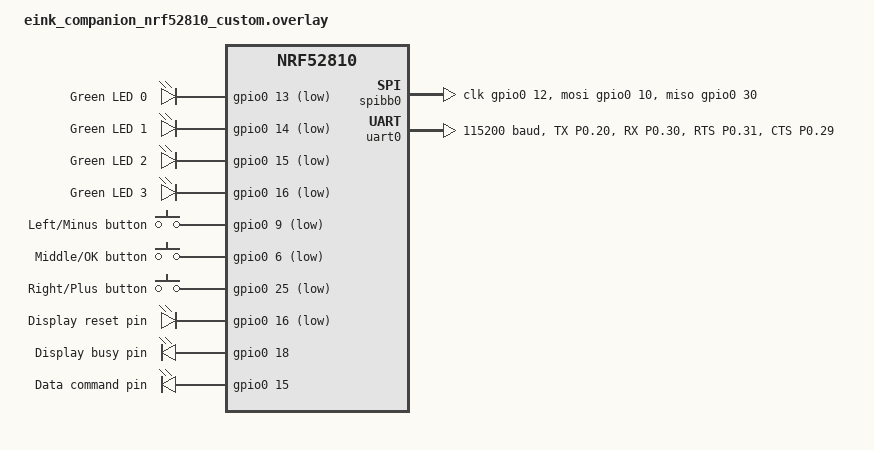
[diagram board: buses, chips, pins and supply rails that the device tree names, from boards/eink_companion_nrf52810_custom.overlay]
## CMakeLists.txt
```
# SPDX-License-Identifier: Apache-2.0

cmake_minimum_required(VERSION 3.20.0)


#set(DTC_OVERLAY_FILE "${CMAKE_CURRENT_SOURCE_DIR}/boards/eink_companion_nrf52840dk.overlay")
set(DTC_OVERLAY_FILE "${CMAKE_CURRENT_SOURCE_DIR}/boards/eink_companion_nrf52810_custom.overlay")


find_package(Zephyr REQUIRED HINTS $ENV{ZEPHYR_BASE})
project(spi_bitbang)


FILE(GLOB app_sources src/*.c)
target_sources(app PRIVATE ${app_sources})
```

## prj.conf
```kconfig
CONFIG_SPI=y
CONFIG_SPI_BITBANG=y
CONFIG_LOG=y
CONFIG_GPIO=y
CONFIG_PM=y
CONFIG_PM_DEVICE=y
#CONFIG_APP_RETENTION=y

CONFIG_ENTROPY_GENERATOR=y
CONFIG_ENTROPY_DEVICE_RANDOM_GENERATOR=y
CONFIG_HARDWARE_DEVICE_CS_GENERATOR=y

#debugging
CONFIG_STDOUT_CONSOLE=y
#CONFIG_NRF_SW_LPUART=y
```

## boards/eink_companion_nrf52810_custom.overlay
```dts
/*
 * Copyright (c) 2020 Intel Corporation
 *
 * SPDX-License-Identifier: Apache-2.0
 */

/ {
    leds {
        compatible = "gpio-leds";
        led0: led_0 {
            gpios = <&gpio0 13 GPIO_ACTIVE_LOW>;
            label = "Green LED 0";
        };
        led1: led_1 {
            gpios = <&gpio0 14 GPIO_ACTIVE_LOW>;
            label = "Green LED 1";
        };
        led2: led_2 {
            gpios = <&gpio0 15 GPIO_ACTIVE_LOW>;
            label = "Green LED 2";
        };
        led3: led_3 {
            gpios = <&gpio0 16 GPIO_ACTIVE_LOW>;
            label = "Green LED 3";
        };
    };

    buttons {
        compatible = "gpio-keys";
        button0: button_0 {
            label = "Left/Minus button";
            gpios = <&gpio0 9 (GPIO_PULL_UP | GPIO_ACTIVE_LOW)>;
        };
        button1: button_1 {
            label = "Middle/OK button";
            gpios = <&gpio0 6 (GPIO_PULL_UP | GPIO_ACTIVE_LOW)>;
        };
        button2: button_2 {
            label = "Right/Plus button";
            gpios = <&gpio0 25 (GPIO_PULL_UP | GPIO_ACTIVE_LOW)>;
        };
    };

    aliases {
        led0 = &led0;
        led1 = &led1;
        led2 = &led2;
        led3 = &led3;
        sw0 = &button0;
        sw1 = &button1;
        sw2 = &button2;
    };

};

/ {
    eink {
        compatible = "gpio-leds";
        einkreset: eink_reset {
            gpios = <&gpio0 16 GPIO_ACTIVE_LOW>;
            label = "Display reset pin";
        };
        einkbusy: eink_busy {
            gpios = <&gpio0 18 GPIO_ACTIVE_HIGH>;
            label = "Display busy pin";
        };
        einkdc: eink_dc {
            gpios = <&gpio0 15 GPIO_ACTIVE_HIGH>;
            label = "Data command pin";
        };
    };

    aliases {
        einkreset = &einkreset;
        einkbusy = &einkbusy;
        einkdc = &einkdc;
    };

};

/ {
    spibb0: spibb0 {
        compatible = "zephyr,spi-bitbang";
        status="okay";
        #address-cells = <1>;
        #size-cells = <0>;
        clk-gpios = <&gpio0 12 GPIO_ACTIVE_HIGH>;
        mosi-gpios = <&gpio0 10 GPIO_ACTIVE_HIGH>;
        miso-gpios = <&gpio0 30 0>;
        cs-gpios = <&gpio0 14 GPIO_ACTIVE_LOW>;
    };
};

&uart0 {
    compatible = "nordic,nrf-uarte";
    status = "okay";
    current-speed = <115200>;
    pinctrl-0 = <&uart0_default>;
    pinctrl-1 = <&uart0_sleep>;
    pinctrl-names = "default", "sleep";
};

&pinctrl {
    uart0_default: uart0_default {
        group1 {
            psels = <NRF_PSEL(UART_TX, 0, 20)>,
                <NRF_PSEL(UART_RX, 0, 30)>,
                <NRF_PSEL(UART_RTS, 0, 31)>,
                <NRF_PSEL(UART_CTS, 0, 29)>;
        };
    };

    uart0_sleep: uart0_sleep {
        group1 {
            psels = <NRF_PSEL(UART_TX, 0, 20)>,
                <NRF_PSEL(UART_RX, 0, 30)>,
                <NRF_PSEL(UART_RTS, 0, 31)>,
                <NRF_PSEL(UART_CTS, 0, 29)>;
            low-power-enable;
        };
    };
};
```

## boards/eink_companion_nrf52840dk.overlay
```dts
/*
 * Copyright (c) 2020 Intel Corporation
 *
 * SPDX-License-Identifier: Apache-2.0
 */

/ {
    leds {
        compatible = "gpio-leds";
        led0: led_0 {
            gpios = <&gpio0 13 GPIO_ACTIVE_LOW>;
            label = "Green LED 0";
        };
        led1: led_1 {
            gpios = <&gpio0 14 GPIO_ACTIVE_LOW>;
            label = "Green LED 1";
        };
        led2: led_2 {
            gpios = <&gpio0 15 GPIO_ACTIVE_LOW>;
            label = "Green LED 2";
        };
        led3: led_3 {
            gpios = <&gpio0 16 GPIO_ACTIVE_LOW>;
            label = "Green LED 3";
        };
    };

    buttons {
        compatible = "gpio-keys";
        button0: button_0 {
            label = "Push button switch 0";
            gpios = <&gpio0 13 (GPIO_PULL_UP | GPIO_ACTIVE_LOW)>;
        };
        button1: button_1 {
            label = "Push button switch 1";
            gpios = <&gpio0 14 (GPIO_PULL_UP | GPIO_ACTIVE_LOW)>;
        };
        button2: button_2 {
            label = "Push button switch 2";
            gpios = <&gpio0 15 (GPIO_PULL_UP | GPIO_ACTIVE_LOW)>;
        };
    };

    aliases {
        led0 = &led0;
        led1 = &led1;
        led2 = &led2;
        led3 = &led3;
        sw0 = &button0;
        sw1 = &button1;
        sw2 = &button2;
    };

};

/ {
    eink {
        compatible = "gpio-leds";
        einkreset: eink_reset {
            gpios = <&gpio0 31 GPIO_ACTIVE_LOW>;
            label = "Display reset pin";
        };
        einkbusy: eink_busy {
            gpios = <&gpio0 3 GPIO_ACTIVE_HIGH>;
            label = "Display busy pin";
        };
        einkdc: eink_dc {
            gpios = <&gpio0 30 GPIO_ACTIVE_HIGH>;
            label = "Data command pin";
        };
    };

    aliases {
        einkreset = &einkreset;
        einkbusy = &einkbusy;
        einkdc = &einkdc;
    };

};

/ {
    spibb0: spibb0 {
        compatible = "zephyr,spi-bitbang";
        status="okay";
        #address-cells = <1>;
        #size-cells = <0>;
        clk-gpios = <&gpio0 28 GPIO_ACTIVE_HIGH>;
        mosi-gpios = <&gpio0 29 GPIO_ACTIVE_HIGH>;
        miso-gpios = <&gpio0 19 0>;
        cs-gpios = <&gpio0 4 GPIO_ACTIVE_LOW>;
    };
};
```

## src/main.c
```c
#include <zephyr/logging/log.h>
LOG_MODULE_REGISTER(app, LOG_LEVEL_INF);

#include <zephyr/kernel.h>
#include <zephyr/device.h>
#include <zephyr/devicetree.h>
#include <zephyr/init.h>
#include <zephyr/pm/pm.h>
#include <zephyr/pm/device.h>
#include <zephyr/pm/policy.h>
#include <soc.h>
#include "retained.h"
#include <stdio.h>
#include <string.h>
#include "board.h"
#include "ssd1680.h"
#include "gfx.h"
#include "gfx_icon.h"
#include "screen_controller.h"
#include "screen_game_dashboard.h"

/* Prevent deep sleep (system off) from being entered on long timeouts
 * or `K_FOREVER` due to the default residency policy.
 *
 * This has to be done before anything tries to sleep, which means
 * before the threading system starts up between PRE_KERNEL_2 and
 * POST_KERNEL.  Do it at the start of PRE_KERNEL_2.
 */
static int disable_ds_1(const struct device *dev)
{
    ARG_UNUSED(dev);
    pm_policy_state_lock_get(PM_STATE_SOFT_OFF, PM_ALL_SUBSTATES);
    return 0;
}

SYS_INIT(disable_ds_1, PRE_KERNEL_2, 0);

static void reset_to_main_menu(void)
{
    LOG_INF("Resetting to setup menu");
    retained.app_state = 0;             // Reset app state to main-menu
    retained.current_selection = 1;     // Set first menu item as selected
    retained_update();                  // Update retained section
    button_state.left = false;          // Clear left button press
    button_state.middle = false;        // Clear middle button press
    button_state.right = false;         // Clear right button press
}

void main(void)
{
    // Wake up time is 16.8us so we should be able to capture button press
    // First get the GPIO state before going forward
    board_switch_init();
    board_update_button_states();

    // Initialize rest of the board
    board_gpio_init();
    gfx_initialize();

    // Validate retained data
    bool retained_ok = retained_validate();
    retained.boots += 1;
    retained_update();

    LOG_INF("Left: %s", button_state.left ? "On" : "Off");
    LOG_INF("Middle: %s", button_state.middle ? "On" : "Off");
    LOG_INF("Right: %s", button_state.right ? "On" : "Off");

    LOG_INF("Retained data: %s", retained_ok ? "valid" : "INVALID");
    LOG_INF("Boot count: %u", retained.boots);
    LOG_INF("Off count: %u", retained.off_count);
    LOG_INF("App state: %u", retained.app_state);
    LOG_INF("Selection: %u", retained.current_selection);

    // Check if middle button is held for 3+ sec
    uint8_t nMiddleCount=0;
    while( board_button_is_pressed(BUTTON_MIDDLE) )
    {
        nMiddleCount++;
        k_sleep(K_MSEC(500));
        if(nMiddleCount>=6)
        {
            reset_to_main_menu();
            break;
        }
    }

    // Update the screen based on state of the device
    screen_logic_state_tick();

    // Put screen and the device into deep sleep
    eink_deep_sleep();
    LOG_INF("Entering deep sleep mode. Night night.");
    pm_state_force(0u, &(struct pm_state_info){PM_STATE_SOFT_OFF, 0, 0});

    while (1)
    {
        k_sleep(K_MSEC(500));
    }
}
```

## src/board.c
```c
#include <zephyr/logging/log.h>
LOG_MODULE_REGISTER(board, LOG_LEVEL_INF);

#include <zephyr/kernel.h>
#include <zephyr/device.h>
#include <zephyr/devicetree.h>
#include <zephyr/drivers/gpio.h>
#include <zephyr/drivers/spi.h>
#include <hal/nrf_gpio.h>
#include <stdio.h>
#include <string.h>
#include "board.h"

#define SPIBB_NODE  DT_NODELABEL(spibb0)
static const struct device *const dev_spibb = DEVICE_DT_GET(SPIBB_NODE);

#define LED0_NODE DT_ALIAS(led0)
static const struct gpio_dt_spec led = GPIO_DT_SPEC_GET(LED0_NODE, gpios);

#define EINK_RESET DT_ALIAS(einkreset)
static const struct gpio_dt_spec dev_eink_reset = GPIO_DT_SPEC_GET(EINK_RESET, gpios);

#define EINK_BUSY DT_ALIAS(einkbusy)
static const struct gpio_dt_spec dev_eink_busy = GPIO_DT_SPEC_GET(EINK_BUSY, gpios);

#define EINK_DC DT_ALIAS(einkdc)
static const struct gpio_dt_spec dev_eink_dc = GPIO_DT_SPEC_GET(EINK_DC, gpios);


struct spi_cs_control cs_ctrl = (struct spi_cs_control){
    .gpio = GPIO_DT_SPEC_GET(SPIBB_NODE, cs_gpios),
    .delay = 0u,
};


// Buttons
#define SW_COUNT    3
static const struct gpio_dt_spec buttons[SW_COUNT] = {
    GPIO_DT_SPEC_GET_OR(DT_ALIAS(sw0), gpios, {0}),
    GPIO_DT_SPEC_GET_OR(DT_ALIAS(sw1), gpios, {0}),
    GPIO_DT_SPEC_GET_OR(DT_ALIAS(sw2), gpios, {0}),
};

struct board_buttons_s button_state;

int board_switch_init(void)
{
    int ret;
    // Buttons
    for (uint8_t i=0; i<SW_COUNT; i++)
    {
        if (!device_is_ready(buttons[i].port)) {
            printk("Error: button device %s is not ready\n",
                   buttons[i].port->name);
            return -1;
        }

        ret = gpio_pin_configure_dt(&buttons[i], GPIO_INPUT | GPIO_PULL_UP);
        if (ret != 0) {
            printk("Error %d: failed to configure %s pin %d\n",
                   ret, buttons[i].port->name, buttons[i].pin);
            return ret;
        }
    }

    return ret;
}

int board_gpio_init(void)
{
    LOG_DBG("Setting up board");
    int ret;

    // EINK
    LOG_DBG("Setting up EINK display");
    ret = gpio_pin_configure_dt(&dev_eink_busy, GPIO_INPUT);
    if (ret < 0) {
        return ret;
    }
    ret = gpio_pin_configure_dt(&dev_eink_reset, GPIO_OUTPUT_ACTIVE);
    if (ret < 0) {
        return ret;
    }
    ret = gpio_pin_configure_dt(&dev_eink_dc, GPIO_OUTPUT_ACTIVE);
    if (ret < 0) {
        return ret;
    }

    // LED
    LOG_DBG("Setting up activity LED");
    ret = gpio_pin_configure_dt(&led, GPIO_OUTPUT_ACTIVE);
    if (ret < 0) {
        return ret;
    }


    for (uint8_t i=0; i<SW_COUNT; i++)
    {
        /* Configure to generate PORT event (wakeup) on button press. */
        nrf_gpio_cfg_input(buttons[i].pin, NRF_GPIO_PIN_PULLUP);
        nrf_gpio_cfg_sense_set(buttons[i].pin, NRF_GPIO_PIN_SENSE_LOW);
    }


    return 0;
}

bool board_button_is_pressed(board_button_t button)
{
    int val=0;
    val = gpio_pin_get_dt(&buttons[button]);

    if (val)
    {
        return true;
    }
    return false;
}

void board_update_button_states(void)
{
    button_state.left   = board_button_is_pressed(BUTTON_LEFT);
    button_state.middle = board_button_is_pressed(BUTTON_MIDDLE);
    button_state.right  = board_button_is_pressed(BUTTON_RIGHT);
}

void board_led_act_toggle(void)
{
    gpio_pin_toggle_dt(&led);
}

void board_gpio_reset(uint8_t state)
{
    gpio_pin_set_dt(&dev_eink_reset, state);
}
void board_gpio_data_cmd(uint8_t state)
{
    gpio_pin_set_dt(&dev_eink_dc, state);
}

bool board_gpio_busy(void)
{
    if (gpio_pin_get_dt(&dev_eink_busy)==1)
    {
        return true;
    }
    return false;
}



int spi_transfer(uint8_t *data, uint32_t nDataLen)
{
    int ret;
    struct spi_config config;

    config.frequency = 1000000;
    config.operation = SPI_OP_MODE_MASTER | SPI_WORD_SET(8);
    config.slave = 0;
    config.cs = &cs_ctrl;

    struct spi_buf tx_buf[1] = {
        {.buf = data, .len = nDataLen},
    };

    struct spi_buf_set tx_set = { .buffers = tx_buf, .count = nDataLen };

    ret = spi_write(dev_spibb, &config, &tx_set);

    return ret;
}
```

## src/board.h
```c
#ifndef _SK_BOARD_H_
#define _SK_BOARD_H_

#define BOARD_GET_TICK()  k_uptime_get()
#define BOARD_DELAY(x)    k_sleep(K_MSEC(x));

typedef enum
{
    BUTTON_LEFT = 0,
    BUTTON_MIDDLE = 1,
    BUTTON_RIGHT = 2
} board_button_t;

typedef struct board_buttons_s
{
    bool left;
    bool middle;
    bool right;
} board_buttons_s;

int board_switch_init(void);
int board_gpio_init(void);
void board_led_act_toggle(void);
void board_gpio_reset(uint8_t state);
void board_gpio_data_cmd(uint8_t state);
bool board_gpio_busy(void);
bool board_button_is_pressed(board_button_t button);
void board_update_button_states(void);
int spi_transfer(uint8_t *data, uint32_t nDataLen);

extern struct board_buttons_s button_state;

#endif
```

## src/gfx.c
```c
#include <zephyr/logging/log.h>
LOG_MODULE_REGISTER(gfx, LOG_LEVEL_INF);

#include <stdlib.h>
#include "gfx.h"
#include "ssd1680.h"

#define BYTES_PER_Y (EPD_HEIGHT/8)

uint8_t display_rotation = 3;
uint8_t img_bw_buff[EPD_BUF_LEN] = {0xFF};
uint8_t img_red_buff[EPD_BUF_LEN] = {0};


void gfx_initialize(void)
{
    gfx_clear_buffer();
    LOG_DBG("Setting up EINK");
    eink_initialize(true);
}

void gfx_display(void)
{
    eink_display(img_bw_buff, img_red_buff);
}

void gfx_display_partial(uint32_t x, uint32_t y, uint32_t nColumn, uint32_t nLine)
{
    eink_display_partial(x, y, &img_bw_buff[(x/8)+y], nColumn, nLine);
}

void gfx_clear_buffer()
{
    memset(img_bw_buff, 0xFF, EPD_BUF_LEN);
    memset(img_red_buff, 0x00, EPD_BUF_LEN);
}

void gfx_set_buffer(uint8_t buff, uint8_t val)
{
    if (buff == 0)
    {
        memset(img_bw_buff, val, EPD_BUF_LEN);
    }
    else
    {
        memset(img_red_buff, val, EPD_BUF_LEN);
    }
}

void gfx_draw_image(const char *img_bw, const char *img_red)
{
    for (int i = 0; i < EPD_BUF_LEN; i++)
    {
        img_bw_buff[i] = img_bw[i];
    }

    for (int i = 0; i < EPD_BUF_LEN; i++)
    {
        img_red_buff[i] = img_red[i];
    }
}

void gfx_draw_pixel(int16_t x, int16_t y, uint16_t color)
{
    if ((x < 0) || (x >= EPD_WIDTH) || (y < 0) || (y >= EPD_HEIGHT))
        return;

    uint8_t *pBuf;
    uint16_t addr;

    addr = x*BYTES_PER_Y + y/8;

    if (color == EPD_RED || color == EPD_RED_INVERSE)
    {
        pBuf = img_red_buff + addr;
    }
    else
    {
        pBuf = img_bw_buff + addr;
    }

    // x is which column
    switch (color)
    {
        case EPD_WHITE:
            *pBuf |= (1 << (7 - y % 8));
            break;
        case EPD_RED:
            *pBuf |= (1 << (7 - y % 8));
            break;
        case EPD_BLACK:
            *pBuf &= ~(1 << (7 - y % 8));
            break;
        case EPD_INVERSE:
        case EPD_RED_INVERSE:
            *pBuf ^= (1 << (7 - y % 8));
            break;
        default:
            LOG_ERR("Invalid color %d", color);
            break;
    }
}



void gfx_draw_line(int16_t x0, int16_t y0, int16_t x1, int16_t y1, uint16_t color)
{
  int16_t steep = abs(y1 - y0) > abs(x1 - x0);
  if (steep)
  {
    gfx_swap(x0, y0);
    gfx_swap(x1, y1);
  }

  if (x0 > x1)
  {
    gfx_swap(x0, x1);
    gfx_swap(y0, y1);
  }

  int16_t dx, dy;
  dx = x1 - x0;
  dy = abs(y1 - y0);

  int16_t err = dx / 2;
  int16_t ystep;

  if (y0 < y1)
  {
    ystep = 1;
  }
  else
  {
    ystep = -1;
  }

  for (; x0 <= x1; x0++)
  {
    if (steep)
    {
      gfx_draw_pixel(y0, x0, color);
    }
    else
    {
      gfx_draw_pixel(x0, y0, color);
    }
    err -= dy;
    if (err < 0)
    {
      y0 += ystep;
      err += dx;
    }
  }
}

void gfx_draw_v_line(int16_t x, int16_t y, int16_t h, uint16_t color)
{
    gfx_draw_line(x, y, x, y + h - 1, color);
}

void gfx_draw_h_line(int16_t x, int16_t y, int16_t w, uint16_t color)
{
  gfx_draw_line(x, y, x + w - 1, y, color);
}

void gfx_draw_circle(int16_t x0, int16_t y0, int16_t r, uint16_t color)
{
  int16_t f = 1 - r;
  int16_t ddF_x = 1;
  int16_t ddF_y = -2 * r;
  int16_t x = 0;
  int16_t y = r;

  gfx_draw_pixel(x0, y0 + r, color);
  gfx_draw_pixel(x0, y0 - r, color);
  gfx_draw_pixel(x0 + r, y0, color);
  gfx_draw_pixel(x0 - r, y0, color);

  while (x < y) {
    if (f >= 0) {
      y--;
      ddF_y += 2;
      f += ddF_y;
    }
    x++;
    ddF_x += 2;
    f += ddF_x;

    gfx_draw_pixel(x0 + x, y0 + y, color);
    gfx_draw_pixel(x0 - x, y0 + y, color);
    gfx_draw_pixel(x0 + x, y0 - y, color);
    gfx_draw_pixel(x0 - x, y0 - y, color);
    gfx_draw_pixel(x0 + y, y0 + x, color);
    gfx_draw_pixel(x0 - y, y0 + x, color);
    gfx_draw_pixel(x0 + y, y0 - x, color);
    gfx_draw_pixel(x0 - y, y0 - x, color);
  }
}

void gfx_draw_helper_circle(int16_t x0, int16_t y0, int16_t r, uint8_t cornername, uint16_t color)
{
  int16_t f = 1 - r;
  int16_t ddF_x = 1;
  int16_t ddF_y = -2 * r;
  int16_t x = 0;
  int16_t y = r;

  while (x < y) {
    if (f >= 0) {
      y--;
      ddF_y += 2;
      f += ddF_y;
    }
    x++;
    ddF_x += 2;
    f += ddF_x;
    if (cornername & 0x4) {
      gfx_draw_pixel(x0 + x, y0 + y, color);
      gfx_draw_pixel(x0 + y, y0 + x, color);
    }
    if (cornername & 0x2) {
      gfx_draw_pixel(x0 + x, y0 - y, color);
      gfx_draw_pixel(x0 + y, y0 - x, color);
    }
    if (cornername & 0x8) {
      gfx_draw_pixel(x0 - y, y0 + x, color);
      gfx_draw_pixel(x0 - x, y0 + y, color);
    }
    if (cornername & 0x1) {
      gfx_draw_pixel(x0 - y, y0 - x, color);
      gfx_draw_pixel(x0 - x, y0 - y, color);
    }
  }
}

void gfx_draw_fill_circle(int16_t x0, int16_t y0, int16_t r, uint16_t color)
{
  gfx_draw_v_line(x0, y0 - r, 2 * r + 1, color);
  gfx_draw_helper_circle_fill(x0, y0, r, 3, 0, color);
}

void gfx_draw_helper_circle_fill(int16_t x0, int16_t y0, int16_t r,
                                    uint8_t corners, int16_t delta,
                                    uint16_t color)
{

  int16_t f = 1 - r;
  int16_t ddF_x = 1;
  int16_t ddF_y = -2 * r;
  int16_t x = 0;
  int16_t y = r;
  int16_t px = x;
  int16_t py = y;

  delta++; // Avoid some +1's in the loop

  while (x < y) {
    if (f >= 0) {
      y--;
      ddF_y += 2;
      f += ddF_y;
    }
    x++;
    ddF_x += 2;
    f += ddF_x;
    // These checks avoid double-drawing certain lines, important
    // for the SSD1306 library which has an INVERT drawing mode.
    if (x < (y + 1)) {
      if (corners & 1)
        gfx_draw_v_line(x0 + x, y0 - y, 2 * y + delta, color);
      if (corners & 2)
        gfx_draw_v_line(x0 - x, y0 - y, 2 * y + delta, color);
    }
    if (y != py) {
      if (corners & 1)
        gfx_draw_v_line(x0 + py, y0 - px, 2 * px + delta, color);
      if (corners & 2)
        gfx_draw_v_line(x0 - py, y0 - px, 2 * px + delta, color);
      py = y;
    }
    px = x;
  }
}

void gfx_draw_rect(int16_t x, int16_t y, int16_t w, int16_t h, uint16_t color)
{
  gfx_draw_h_line(x, y, w, color);
  gfx_draw_h_line(x, y + h - 1, w, color);
  gfx_draw_v_line(x, y, h, color);
  gfx_draw_v_line(x + w - 1, y, h, color);
}

void gfx_draw_fill_rect(int16_t x, int16_t y, int16_t w, int16_t h, uint16_t color)
{
  for (int16_t i = x; i < x + w; i++)
  {
    gfx_draw_v_line(i, y, h, color);
  }
}


void gfx_draw_round_rect(int16_t x, int16_t y, int16_t w, int16_t h, int16_t r, uint16_t color)
{
  int16_t max_radius = ((w < h) ? w : h) / 2; // 1/2 minor axis
  if (r > max_radius)
    r = max_radius;
  // smarter version
  gfx_draw_h_line(x + r, y, w - 2 * r, color);         // Top
  gfx_draw_h_line(x + r, y + h - 1, w - 2 * r, color); // Bottom
  gfx_draw_v_line(x, y + r, h - 2 * r, color);         // Left
  gfx_draw_v_line(x + w - 1, y + r, h - 2 * r, color); // Right
  // draw four corners
  gfx_draw_helper_circle(x + r, y + r, r, 1, color);
  gfx_draw_helper_circle(x + w - r - 1, y + r, r, 2, color);
  gfx_draw_helper_circle(x + w - r - 1, y + h - r - 1, r, 4, color);
  gfx_draw_helper_circle(x + r, y + h - r - 1, r, 8, color);
}

void gfx_draw_fill_round_rect(int16_t x, int16_t y, int16_t w, int16_t h, int16_t r, uint16_t color)
{
  int16_t max_radius = ((w < h) ? w : h) / 2; // 1/2 minor axis
  if (r > max_radius)
    r = max_radius;
  // smarter version
  gfx_draw_fill_rect(x + r, y, w - 2 * r, h, color);
  // draw four corners
  gfx_draw_helper_circle_fill(x + w - r - 1, y + r, r, 1, h - 2 * r - 1, color);
  gfx_draw_helper_circle_fill(x + r, y + r, r, 2, h - 2 * r - 1, color);
}


void gfx_draw_triangle(int16_t x0, int16_t y0, int16_t x1, int16_t y1, int16_t x2, int16_t y2, uint16_t color)
{
  gfx_draw_line(x0, y0, x1, y1, color);
  gfx_draw_line(x1, y1, x2, y2, color);
  gfx_draw_line(x2, y2, x0, y0, color);
}


void gfx_draw_fill_triangle(int16_t x0, int16_t y0, int16_t x1, int16_t y1, int16_t x2, int16_t y2, uint16_t color)
{

  int16_t a, b, y, last;

  // Sort coordinates by Y order (y2 >= y1 >= y0)
  if (y0 > y1) {
    gfx_swap(y0, y1);
    gfx_swap(x0, x1);
  }
  if (y1 > y2) {
    gfx_swap(y2, y1);
    gfx_swap(x2, x1);
  }
  if (y0 > y1) {
    gfx_swap(y0, y1);
    gfx_swap(x0, x1);
  }

  if (y0 == y2) { // Handle awkward all-on-same-line case as its own thing
    a = b = x0;
    if (x1 < a)
      a = x1;
    else if (x1 > b)
      b = x1;
    if (x2 < a)
      a = x2;
    else if (x2 > b)
      b = x2;
    gfx_draw_h_line(a, y0, b - a + 1, color);
    return;
  }

  int16_t dx01 = x1 - x0, dy01 = y1 - y0, dx02 = x2 - x0, dy02 = y2 - y0,
          dx12 = x2 - x1, dy12 = y2 - y1;
  int32_t sa = 0, sb = 0;

  // For upper part of triangle, find scanline crossings for segments
  // 0-1 and 0-2.  If y1=y2 (flat-bottomed triangle), the scanline y1
  // is included here (and second loop will be skipped, avoiding a /0
  // error there), otherwise scanline y1 is skipped here and handled
  // in the second loop...which also avoids a /0 error here if y0=y1
  // (flat-topped triangle).
  if (y1 == y2)
    last = y1; // Include y1 scanline
  else
    last = y1 - 1; // Skip it

  for (y = y0; y <= last; y++) {
    a = x0 + sa / dy01;
    b = x0 + sb / dy02;
    sa += dx01;
    sb += dx02;
    /* longhand:
    a = x0 + (x1 - x0) * (y - y0) / (y1 - y0);
    b = x0 + (x2 - x0) * (y - y0) / (y2 - y0);
    */
    if (a > b)
      gfx_swap(a, b);
    gfx_draw_h_line(a, y, b - a + 1, color);
  }

  // For lower part of triangle, find scanline crossings for segments
  // 0-2 and 1-2.  This loop is skipped if y1=y2.
  sa = (int32_t)dx12 * (y - y1);
  sb = (int32_t)dx02 * (y - y0);
  for (; y <= y2; y++) {
    a = x1 + sa / dy12;
    b = x0 + sb / dy02;
    sa += dx12;
    sb += dx02;
    /* longhand:
    a = x1 + (x2 - x1) * (y - y1) / (y2 - y1);
    b = x0 + (x2 - x0) * (y - y0) / (y2 - y0);
    */
    if (a > b)
      gfx_swap(a, b);
    gfx_draw_h_line(a, y, b - a + 1, color);
  }
}
```

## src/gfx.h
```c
#ifndef _SK_GFX_H_
#define _SK_GFX_H_

#include <stdint.h>
#include "ssd1680.h"

#define gfx_swap(a, b) \
  {                    \
    int16_t t = a;     \
    a = b;             \
    b = t;             \
  } ///< simple swap function

typedef enum EPD_Color
{
  EPD_BLACK,   ///< black color
  EPD_WHITE,   ///< white color
  EPD_INVERSE, ///< invert color
  EPD_RED,     ///< red color
  EPD_RED_INVERSE,     ///< red color
  EPD_DARK,    ///< darker color
  EPD_LIGHT,   ///< lighter color
} EPD_Color;

void gfx_initialize(void);
void gfx_display(void);
void gfx_display_partial(uint32_t x, uint32_t y, uint32_t nColumn, uint32_t nLine);
void gfx_clear_buffer();
void gfx_draw_image(const char *img_bw, const char *img_red);
void gfx_draw_pixel(int16_t x, int16_t y, uint16_t color);
void gfx_draw_line(int16_t x0, int16_t y0, int16_t x1, int16_t y1, uint16_t color);
void gfx_draw_v_line(int16_t x, int16_t y, int16_t h, uint16_t color);
void gfx_draw_h_line(int16_t x, int16_t y, int16_t h, uint16_t color);
void gfx_draw_circle(int16_t x0, int16_t y0, int16_t r, uint16_t color);
void gfx_draw_helper_circle(int16_t x0, int16_t y0, int16_t r, uint8_t cornername, uint16_t color);
void gfx_draw_helper_circle_fill(int16_t x0, int16_t y0, int16_t r, uint8_t corners, int16_t delta, uint16_t color);
void gfx_draw_fill_rect(int16_t x, int16_t y, int16_t w, int16_t h, uint16_t color);
void gfx_draw_rect(int16_t x, int16_t y, int16_t w, int16_t h, uint16_t color);
void gfx_draw_round_rect(int16_t x, int16_t y, int16_t w, int16_t h, int16_t r, uint16_t color);
void gfx_draw_fill_round_rect(int16_t x, int16_t y, int16_t w, int16_t h, int16_t r, uint16_t color);
void gfx_draw_triangle(int16_t x0, int16_t y0, int16_t x1, int16_t y1, int16_t x2, int16_t y2, uint16_t color);
void gfx_draw_fill_triangle(int16_t x0, int16_t y0, int16_t x1, int16_t y1, int16_t x2, int16_t y2, uint16_t color);

extern uint8_t img_bw_buff[EPD_BUF_LEN];
extern uint8_t img_red_buff[EPD_BUF_LEN];

#endif
```

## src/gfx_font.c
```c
#include <zephyr/logging/log.h>
LOG_MODULE_REGISTER(gfx_font, LOG_LEVEL_INF);

#include <stdlib.h>
#include <stdio.h>

#include "ssd1680.h"
#include "gfx_font.h"
#include "fonts/FreeMono9pt7b.h"
#include "fonts/FreeSerifBold24pt7b.h"
#include "fonts/FreeMono12pt7b.h"
#include "fonts/FreeMono18pt7b.h"
#include "fonts/FreeMono24pt7b.h"
#include "fonts/FreeMonoBold9pt7b.h"
#include "fonts/FreeMonoBold12pt7b.h"
#include "fonts/FreeMonoBold18pt7b.h"
#include "fonts/FreeMonoBold24pt7b.h"
#include "fonts/FreeSans9pt7b.h"
#include "fonts/FreeSans12pt7b.h"
#include "fonts/FreeSans18pt7b.h"
#include "fonts/FreeSans24pt7b.h"

extern const unsigned char font[];
bool _cp437 = false;
bool wrap = false;
uint16_t cursor_x = 0;
uint16_t cursor_y = 0;
uint16_t textsize_y = 1;
uint16_t textsize_x = 1;

GFXfont *gfxFont = (GFXfont *)&FreeSerifBold24pt7b;


// Private function forward declaration
static uint16_t gfx_font_get_char_width(unsigned char c);

void gfx_set_font(uint8_t font)
{
    switch(font)
    {
        case FREE_MONO_9PT:
            gfxFont = (GFXfont *)&FreeMono9pt7b;
            break;
        case FREE_MONO_12PT:
            gfxFont = (GFXfont *)&FreeMono12pt7b;
            break;
        case FREE_MONO_18PT:
            gfxFont = (GFXfont *)&FreeMono18pt7b;
            break;
        case FREE_MONO_24PT:
            gfxFont = (GFXfont *)&FreeMono24pt7b;
            break;
        case FREE_MONO_BOLD_9PT:
            gfxFont = (GFXfont *)&FreeMonoBold9pt7b;
            break;
        case FREE_MONO_BOLD_12PT:
            gfxFont = (GFXfont *)&FreeMonoBold12pt7b;
            break;
        case FREE_MONO_BOLD_18PT:
            gfxFont = (GFXfont *)&FreeMonoBold18pt7b;
            break;
        case FREE_MONO_BOLD_24PT:
            gfxFont = (GFXfont *)&FreeMonoBold24pt7b;
            break;
        case FREE_SANS_9PT:
            gfxFont = (GFXfont *)&FreeSans9pt7b;
            break;
        case FREE_SANS_12PT:
            gfxFont = (GFXfont *)&FreeSans12pt7b;
            break;
        case FREE_SANS_18PT:
            gfxFont = (GFXfont *)&FreeSans18pt7b;
            break;
        case FREE_SANS_24PT:
            gfxFont = (GFXfont *)&FreeSans24pt7b;
            break;

        default:
            gfxFont = NULL;
            break;
    }
}


void gfx_draw_char(int16_t x, int16_t y, uint16_t color, uint16_t bg, uint8_t size_x, uint8_t size_y, unsigned char c)
{
  if (gfxFont == NULL) { // 'Classic' built-in font

    if ((x >= EPD_WIDTH) ||              // Clip right
        (y >= EPD_HEIGHT) ||             // Clip bottom
        ((x + 6 * size_x - 1) < 0) || // Clip left
        ((y + 8 * size_y - 1) < 0))   // Clip top
      return;

    if (!_cp437 && (c >= 176))
      c++; // Handle 'classic' charset behavior

    for (int8_t i = 0; i < 5; i++)
    { // Char bitmap = 5 columns
      uint8_t line = font[c * 5 + i];
      for (int8_t j = 0; j < 8; j++, line >>= 1)
      {
        if (line & 1)
        {
          if (size_x == 1 && size_y == 1)
          {
            gfx_draw_pixel(x + i, y + j, color);
          }
          else
          {
            gfx_draw_fill_rect(x + i * size_x, y + j * size_y, size_x, size_y,
                          color);
          }
        }
        else if (bg != color)
        {
          if (size_x == 1 && size_y == 1)
          {
            gfx_draw_pixel(x + i, y + j, bg);
          }
          else
          {
            gfx_draw_fill_rect(x + i * size_x, y + j * size_y, size_x, size_y, bg);
          }
        }
      }
    }
    if (bg != color)
    { // If opaque, draw vertical line for last column
      if (size_x == 1 && size_y == 1)
      {
        gfx_draw_v_line(x + 5, y, 8, bg);
      }
      else
      {
        gfx_draw_fill_rect(x + 5 * size_x, y, size_x, 8 * size_y, bg);
      }
    }

  }
  else
  { // Custom font

    // Character is assumed previously filtered by write() to eliminate
    // newlines, returns, non-printable characters, etc.  Calling
    // drawChar() directly with 'bad' characters of font may cause mayhem!

    c -= gfxFont->first;
    GFXglyph *glyph = gfxFont->glyph + c;
    uint8_t *bitmap = gfxFont->bitmap;


    uint16_t bo = glyph->bitmapOffset;
    uint8_t w = glyph->width;
    uint8_t h = glyph->height;
    int8_t xo = glyph->xOffset;
    int8_t yo = glyph->yOffset;
    uint8_t xx;
    uint8_t yy;
    uint8_t bits = 0;
    uint8_t bit = 0;
    int16_t xo16 = 0, yo16 = 0;

    if (size_x > 1 || size_y > 1)
    {
      xo16 = xo;
      yo16 = yo;
    }

    // Todo: Add character clipping here

    // NOTE: THERE IS NO 'BACKGROUND' COLOR OPTION ON CUSTOM FONTS.
    // THIS IS ON PURPOSE AND BY DESIGN.  The background color feature
    // has typically been used with the 'classic' font to overwrite old
    // screen contents with new data.  This ONLY works because the
    // characters are a uniform size; it's not a sensible thing to do with
    // proportionally-spaced fonts with glyphs of varying sizes (and that
    // may overlap).  To replace previously-drawn text when using a custom
    // font, use the getTextBounds() function to determine the smallest
    // rectangle encompassing a string, erase the area with fillRect(),
    // then draw new text.  This WILL infortunately 'blink' the text, but
    // is unavoidable.  Drawing 'background' pixels will NOT fix this,
    // only creates a new set of problems.  Have an idea to work around
    // this (a canvas object type for MCUs that can afford the RAM and
    // displays supporting setAddrWindow() and pushColors()), but haven't
    // implemented this yet.

    for (yy = 0; yy < h; yy++)
    {
      for (xx = 0; xx < w; xx++)
      {
        if (!(bit++ & 7))
        {
          bits = bitmap[bo++];
        }
        if (bits & 0x80)
        {
          if (size_x == 1 && size_y == 1)
          {
            gfx_draw_pixel(x + xo + xx, y + yo + yy, color);
          }
          else
          {
            gfx_draw_fill_rect(x + (xo16 + xx) * size_x, y + (yo16 + yy) * size_y,
                          size_x, size_y, color);
          }
        }
        bits <<= 1;
      }
    }

  } // End classic vs custom font
}


void gfx_draw_text(int16_t x, int16_t y, int16_t color, int16_t bg, int16_t size_x, int16_t size_y, const char *str)
{
    int len = strlen(str);
    char c;

    for (uint8_t i=0; i<len; i++)
    {
        gfx_draw_char(x, y, color, bg, size_x, size_y, str[i]);

        if (gfxFont == NULL)
        {
            x += size_x*6;
        }
        else
        {
            c = str[i];
            c -= gfxFont->first;
            GFXglyph *glyph = gfxFont->glyph + c;
            x += glyph->xAdvance * (int16_t)size_x;
        }
    }
}

void gfx_draw_centered_text(int16_t x, int16_t y, int16_t color, int16_t bg, int16_t size_x, int16_t size_y, const char *str)
{
    uint16_t w;
    w = gfx_font_get_str_width(str);

    x = x - w/2;
    if(x<0)
    {
        x = 0;
    }
    gfx_draw_text(x, y, color, bg, size_x, size_y, str);
}

static uint16_t gfx_font_get_char_width(unsigned char c)
{

  if (gfxFont != NULL)
  {
      if ((c >= gfxFont->first) && (c <= gfxFont->last)) // Char present in this font?
      {
            c -= gfxFont->first;
            GFXglyph *glyph = gfxFont->glyph + c;
        return glyph->xAdvance * textsize_x;
      }
      else
      {
        return 0;
      }
  }
  else
  {
     return textsize_x * 6;
  }
}


uint16_t gfx_font_get_str_width(const char *str)
{
  uint8_t c; // Current character
  uint16_t width = 0; // Initial size is zero

  while ((c = *str++)) {
    width += gfx_font_get_char_width(c);
  }

  return width;
}
```

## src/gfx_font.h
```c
#ifndef _SK_GFX_FONT_H_
#define _SK_GFX_FONT_H_

#include "gfx.h"

typedef struct {
  uint16_t bitmapOffset; ///< Pointer into GFXfont->bitmap
  uint8_t width;         ///< Bitmap dimensions in pixels
  uint8_t height;        ///< Bitmap dimensions in pixels
  uint8_t xAdvance;      ///< Distance to advance cursor (x axis)
  int8_t xOffset;        ///< X dist from cursor pos to UL corner
  int8_t yOffset;        ///< Y dist from cursor pos to UL corner
} GFXglyph;

/// Data stored for FONT AS A WHOLE
typedef struct {
  uint8_t *bitmap;  ///< Glyph bitmaps, concatenated
  GFXglyph *glyph;  ///< Glyph array
  uint16_t first;   ///< ASCII extents (first char)
  uint16_t last;    ///< ASCII extents (last char)
  uint8_t yAdvance; ///< Newline distance (y axis)
} GFXfont;


typedef enum
{
    FREE_MONO_9PT = 0,
    FREE_MONO_12PT = 1,
    FREE_MONO_18PT = 2,
    FREE_MONO_24PT = 3,
    FREE_MONO_BOLD_9PT = 4,
    FREE_MONO_BOLD_12PT = 5,
    FREE_MONO_BOLD_18PT = 6,
    FREE_MONO_BOLD_24PT = 7,
    FREE_SANS_9PT = 8,
    FREE_SANS_12PT = 9,
    FREE_SANS_18PT = 10,
    FREE_SANS_24PT = 11,
    FREE_DEFAULT = 99
} gfx_font_t;

void gfx_set_font(uint8_t font);
void gfx_draw_char(int16_t x, int16_t y, uint16_t color, uint16_t bg, uint8_t size_x, uint8_t size_y, unsigned char c);
void gfx_draw_text(int16_t x, int16_t y, int16_t color, int16_t bg, int16_t size_x, int16_t size_y, const char *str);
void gfx_draw_centered_text(int16_t x, int16_t y, int16_t color, int16_t bg, int16_t size_x, int16_t size_y, const char *str);
uint16_t gfx_font_get_str_width(const char *str);
#endif
```

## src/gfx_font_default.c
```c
const unsigned char font[] = {
    0x00, 0x00, 0x00, 0x00, 0x00, 0x3E, 0x5B, 0x4F, 0x5B, 0x3E, 0x3E, 0x6B,
    0x4F, 0x6B, 0x3E, 0x1C, 0x3E, 0x7C, 0x3E, 0x1C, 0x18, 0x3C, 0x7E, 0x3C,
    0x18, 0x1C, 0x57, 0x7D, 0x57, 0x1C, 0x1C, 0x5E, 0x7F, 0x5E, 0x1C, 0x00,
    0x18, 0x3C, 0x18, 0x00, 0xFF, 0xE7, 0xC3, 0xE7, 0xFF, 0x00, 0x18, 0x24,
    0x18, 0x00, 0xFF, 0xE7, 0xDB, 0xE7, 0xFF, 0x30, 0x48, 0x3A, 0x06, 0x0E,
    0x26, 0x29, 0x79, 0x29, 0x26, 0x40, 0x7F, 0x05, 0x05, 0x07, 0x40, 0x7F,
    0x05, 0x25, 0x3F, 0x5A, 0x3C, 0xE7, 0x3C, 0x5A, 0x7F, 0x3E, 0x1C, 0x1C,
    0x08, 0x08, 0x1C, 0x1C, 0x3E, 0x7F, 0x14, 0x22, 0x7F, 0x22, 0x14, 0x5F,
    0x5F, 0x00, 0x5F, 0x5F, 0x06, 0x09, 0x7F, 0x01, 0x7F, 0x00, 0x66, 0x89,
    0x95, 0x6A, 0x60, 0x60, 0x60, 0x60, 0x60, 0x94, 0xA2, 0xFF, 0xA2, 0x94,
    0x08, 0x04, 0x7E, 0x04, 0x08, 0x10, 0x20, 0x7E, 0x20, 0x10, 0x08, 0x08,
    0x2A, 0x1C, 0x08, 0x08, 0x1C, 0x2A, 0x08, 0x08, 0x1E, 0x10, 0x10, 0x10,
    0x10, 0x0C, 0x1E, 0x0C, 0x1E, 0x0C, 0x30, 0x38, 0x3E, 0x38, 0x30, 0x06,
    0x0E, 0x3E, 0x0E, 0x06, 0x00, 0x00, 0x00, 0x00, 0x00, 0x00, 0x00, 0x5F,
    0x00, 0x00, 0x00, 0x07, 0x00, 0x07, 0x00, 0x14, 0x7F, 0x14, 0x7F, 0x14,
    0x24, 0x2A, 0x7F, 0x2A, 0x12, 0x23, 0x13, 0x08, 0x64, 0x62, 0x36, 0x49,
    0x56, 0x20, 0x50, 0x00, 0x08, 0x07, 0x03, 0x00, 0x00, 0x1C, 0x22, 0x41,
    0x00, 0x00, 0x41, 0x22, 0x1C, 0x00, 0x2A, 0x1C, 0x7F, 0x1C, 0x2A, 0x08,
    0x08, 0x3E, 0x08, 0x08, 0x00, 0x80, 0x70, 0x30, 0x00, 0x08, 0x08, 0x08,
    0x08, 0x08, 0x00, 0x00, 0x60, 0x60, 0x00, 0x20, 0x10, 0x08, 0x04, 0x02,
    0x3E, 0x51, 0x49, 0x45, 0x3E, 0x00, 0x42, 0x7F, 0x40, 0x00, 0x72, 0x49,
    0x49, 0x49, 0x46, 0x21, 0x41, 0x49, 0x4D, 0x33, 0x18, 0x14, 0x12, 0x7F,
    0x10, 0x27, 0x45, 0x45, 0x45, 0x39, 0x3C, 0x4A, 0x49, 0x49, 0x31, 0x41,
    0x21, 0x11, 0x09, 0x07, 0x36, 0x49, 0x49, 0x49, 0x36, 0x46, 0x49, 0x49,
    0x29, 0x1E, 0x00, 0x00, 0x14, 0x00, 0x00, 0x00, 0x40, 0x34, 0x00, 0x00,
    0x00, 0x08, 0x14, 0x22, 0x41, 0x14, 0x14, 0x14, 0x14, 0x14, 0x00, 0x41,
    0x22, 0x14, 0x08, 0x02, 0x01, 0x59, 0x09, 0x06, 0x3E, 0x41, 0x5D, 0x59,
    0x4E, 0x7C, 0x12, 0x11, 0x12, 0x7C, 0x7F, 0x49, 0x49, 0x49, 0x36, 0x3E,
    0x41, 0x41, 0x41, 0x22, 0x7F, 0x41, 0x41, 0x41, 0x3E, 0x7F, 0x49, 0x49,
    0x49, 0x41, 0x7F, 0x09, 0x09, 0x09, 0x01, 0x3E, 0x41, 0x41, 0x51, 0x73,
    0x7F, 0x08, 0x08, 0x08, 0x7F, 0x00, 0x41, 0x7F, 0x41, 0x00, 0x20, 0x40,
    0x41, 0x3F, 0x01, 0x7F, 0x08, 0x14, 0x22, 0x41, 0x7F, 0x40, 0x40, 0x40,
    0x40, 0x7F, 0x02, 0x1C, 0x02, 0x7F, 0x7F, 0x04, 0x08, 0x10, 0x7F, 0x3E,
    0x41, 0x41, 0x41, 0x3E, 0x7F, 0x09, 0x09, 0x09, 0x06, 0x3E, 0x41, 0x51,
    0x21, 0x5E, 0x7F, 0x09, 0x19, 0x29, 0x46, 0x26, 0x49, 0x49, 0x49, 0x32,
    0x03, 0x01, 0x7F, 0x01, 0x03, 0x3F, 0x40, 0x40, 0x40, 0x3F, 0x1F, 0x20,
    0x40, 0x20, 0x1F, 0x3F, 0x40, 0x38, 0x40, 0x3F, 0x63, 0x14, 0x08, 0x14,
    0x63, 0x03, 0x04, 0x78, 0x04, 0x03, 0x61, 0x59, 0x49, 0x4D, 0x43, 0x00,
    0x7F, 0x41, 0x41, 0x41, 0x02, 0x04, 0x08, 0x10, 0x20, 0x00, 0x41, 0x41,
    0x41, 0x7F, 0x04, 0x02, 0x01, 0x02, 0x04, 0x40, 0x40, 0x40, 0x40, 0x40,
    0x00, 0x03, 0x07, 0x08, 0x00, 0x20, 0x54, 0x54, 0x78, 0x40, 0x7F, 0x28,
    0x44, 0x44, 0x38, 0x38, 0x44, 0x44, 0x44, 0x28, 0x38, 0x44, 0x44, 0x28,
    0x7F, 0x38, 0x54, 0x54, 0x54, 0x18, 0x00, 0x08, 0x7E, 0x09, 0x02, 0x18,
    0xA4, 0xA4, 0x9C, 0x78, 0x7F, 0x08, 0x04, 0x04, 0x78, 0x00, 0x44, 0x7D,
    0x40, 0x00, 0x20, 0x40, 0x40, 0x3D, 0x00, 0x7F, 0x10, 0x28, 0x44, 0x00,
    0x00, 0x41, 0x7F, 0x40, 0x00, 0x7C, 0x04, 0x78, 0x04, 0x78, 0x7C, 0x08,
    0x04, 0x04, 0x78, 0x38, 0x44, 0x44, 0x44, 0x38, 0xFC, 0x18, 0x24, 0x24,
    0x18, 0x18, 0x24, 0x24, 0x18, 0xFC, 0x7C, 0x08, 0x04, 0x04, 0x08, 0x48,
    0x54, 0x54, 0x54, 0x24, 0x04, 0x04, 0x3F, 0x44, 0x24, 0x3C, 0x40, 0x40,
    0x20, 0x7C, 0x1C, 0x20, 0x40, 0x20, 0x1C, 0x3C, 0x40, 0x30, 0x40, 0x3C,
    0x44, 0x28, 0x10, 0x28, 0x44, 0x4C, 0x90, 0x90, 0x90, 0x7C, 0x44, 0x64,
    0x54, 0x4C, 0x44, 0x00, 0x08, 0x36, 0x41, 0x00, 0x00, 0x00, 0x77, 0x00,
    0x00, 0x00, 0x41, 0x36, 0x08, 0x00, 0x02, 0x01, 0x02, 0x04, 0x02, 0x3C,
    0x26, 0x23, 0x26, 0x3C, 0x1E, 0xA1, 0xA1, 0x61, 0x12, 0x3A, 0x40, 0x40,
    0x20, 0x7A, 0x38, 0x54, 0x54, 0x55, 0x59, 0x21, 0x55, 0x55, 0x79, 0x41,
    0x22, 0x54, 0x54, 0x78, 0x42, // a-umlaut
    0x21, 0x55, 0x54, 0x78, 0x40, 0x20, 0x54, 0x55, 0x79, 0x40, 0x0C, 0x1E,
    0x52, 0x72, 0x12, 0x39, 0x55, 0x55, 0x55, 0x59, 0x39, 0x54, 0x54, 0x54,
    0x59, 0x39, 0x55, 0x54, 0x54, 0x58, 0x00, 0x00, 0x45, 0x7C, 0x41, 0x00,
    0x02, 0x45, 0x7D, 0x42, 0x00, 0x01, 0x45, 0x7C, 0x40, 0x7D, 0x12, 0x11,
    0x12, 0x7D, // A-umlaut
    0xF0, 0x28, 0x25, 0x28, 0xF0, 0x7C, 0x54, 0x55, 0x45, 0x00, 0x20, 0x54,
    0x54, 0x7C, 0x54, 0x7C, 0x0A, 0x09, 0x7F, 0x49, 0x32, 0x49, 0x49, 0x49,
    0x32, 0x3A, 0x44, 0x44, 0x44, 0x3A, // o-umlaut
    0x32, 0x4A, 0x48, 0x48, 0x30, 0x3A, 0x41, 0x41, 0x21, 0x7A, 0x3A, 0x42,
    0x40, 0x20, 0x78, 0x00, 0x9D, 0xA0, 0xA0, 0x7D, 0x3D, 0x42, 0x42, 0x42,
    0x3D, // O-umlaut
    0x3D, 0x40, 0x40, 0x40, 0x3D, 0x3C, 0x24, 0xFF, 0x24, 0x24, 0x48, 0x7E,
    0x49, 0x43, 0x66, 0x2B, 0x2F, 0xFC, 0x2F, 0x2B, 0xFF, 0x09, 0x29, 0xF6,
    0x20, 0xC0, 0x88, 0x7E, 0x09, 0x03, 0x20, 0x54, 0x54, 0x79, 0x41, 0x00,
    0x00, 0x44, 0x7D, 0x41, 0x30, 0x48, 0x48, 0x4A, 0x32, 0x38, 0x40, 0x40,
    0x22, 0x7A, 0x00, 0x7A, 0x0A, 0x0A, 0x72, 0x7D, 0x0D, 0x19, 0x31, 0x7D,
    0x26, 0x29, 0x29, 0x2F, 0x28, 0x26, 0x29, 0x29, 0x29, 0x26, 0x30, 0x48,
    0x4D, 0x40, 0x20, 0x38, 0x08, 0x08, 0x08, 0x08, 0x08, 0x08, 0x08, 0x08,
    0x38, 0x2F, 0x10, 0xC8, 0xAC, 0xBA, 0x2F, 0x10, 0x28, 0x34, 0xFA, 0x00,
    0x00, 0x7B, 0x00, 0x00, 0x08, 0x14, 0x2A, 0x14, 0x22, 0x22, 0x14, 0x2A,
    0x14, 0x08, 0x55, 0x00, 0x55, 0x00, 0x55, // #176 (25% block) missing in old
                                              // code
    0xAA, 0x55, 0xAA, 0x55, 0xAA,             // 50% block
    0xFF, 0x55, 0xFF, 0x55, 0xFF,             // 75% block
    0x00, 0x00, 0x00, 0xFF, 0x00, 0x10, 0x10, 0x10, 0xFF, 0x00, 0x14, 0x14,
    0x14, 0xFF, 0x00, 0x10, 0x10, 0xFF, 0x00, 0xFF, 0x10, 0x10, 0xF0, 0x10,
    0xF0, 0x14, 0x14, 0x14, 0xFC, 0x00, 0x14, 0x14, 0xF7, 0x00, 0xFF, 0x00,
    0x00, 0xFF, 0x00, 0xFF, 0x14, 0x14, 0xF4, 0x04, 0xFC, 0x14, 0x14, 0x17,
    0x10, 0x1F, 0x10, 0x10, 0x1F, 0x10, 0x1F, 0x14, 0x14, 0x14, 0x1F, 0x00,
    0x10, 0x10, 0x10, 0xF0, 0x00, 0x00, 0x00, 0x00, 0x1F, 0x10, 0x10, 0x10,
    0x10, 0x1F, 0x10, 0x10, 0x10, 0x10, 0xF0, 0x10, 0x00, 0x00, 0x00, 0xFF,
    0x10, 0x10, 0x10, 0x10, 0x10, 0x10, 0x10, 0x10, 0x10, 0xFF, 0x10, 0x00,
    0x00, 0x00, 0xFF, 0x14, 0x00, 0x00, 0xFF, 0x00, 0xFF, 0x00, 0x00, 0x1F,
    0x10, 0x17, 0x00, 0x00, 0xFC, 0x04, 0xF4, 0x14, 0x14, 0x17, 0x10, 0x17,
    0x14, 0x14, 0xF4, 0x04, 0xF4, 0x00, 0x00, 0xFF, 0x00, 0xF7, 0x14, 0x14,
    0x14, 0x14, 0x14, 0x14, 0x14, 0xF7, 0x00, 0xF7, 0x14, 0x14, 0x14, 0x17,
    0x14, 0x10, 0x10, 0x1F, 0x10, 0x1F, 0x14, 0x14, 0x14, 0xF4, 0x14, 0x10,
    0x10, 0xF0, 0x10, 0xF0, 0x00, 0x00, 0x1F, 0x10, 0x1F, 0x00, 0x00, 0x00,
    0x1F, 0x14, 0x00, 0x00, 0x00, 0xFC, 0x14, 0x00, 0x00, 0xF0, 0x10, 0xF0,
    0x10, 0x10, 0xFF, 0x10, 0xFF, 0x14, 0x14, 0x14, 0xFF, 0x14, 0x10, 0x10,
    0x10, 0x1F, 0x00, 0x00, 0x00, 0x00, 0xF0, 0x10, 0xFF, 0xFF, 0xFF, 0xFF,
    0xFF, 0xF0, 0xF0, 0xF0, 0xF0, 0xF0, 0xFF, 0xFF, 0xFF, 0x00, 0x00, 0x00,
    0x00, 0x00, 0xFF, 0xFF, 0x0F, 0x0F, 0x0F, 0x0F, 0x0F, 0x38, 0x44, 0x44,
    0x38, 0x44, 0xFC, 0x4A, 0x4A, 0x4A, 0x34, // sharp-s or beta
    0x7E, 0x02, 0x02, 0x06, 0x06, 0x02, 0x7E, 0x02, 0x7E, 0x02, 0x63, 0x55,
    0x49, 0x41, 0x63, 0x38, 0x44, 0x44, 0x3C, 0x04, 0x40, 0x7E, 0x20, 0x1E,
    0x20, 0x06, 0x02, 0x7E, 0x02, 0x02, 0x99, 0xA5, 0xE7, 0xA5, 0x99, 0x1C,
    0x2A, 0x49, 0x2A, 0x1C, 0x4C, 0x72, 0x01, 0x72, 0x4C, 0x30, 0x4A, 0x4D,
    0x4D, 0x30, 0x30, 0x48, 0x78, 0x48, 0x30, 0xBC, 0x62, 0x5A, 0x46, 0x3D,
    0x3E, 0x49, 0x49, 0x49, 0x00, 0x7E, 0x01, 0x01, 0x01, 0x7E, 0x2A, 0x2A,
    0x2A, 0x2A, 0x2A, 0x44, 0x44, 0x5F, 0x44, 0x44, 0x40, 0x51, 0x4A, 0x44,
    0x40, 0x40, 0x44, 0x4A, 0x51, 0x40, 0x00, 0x00, 0xFF, 0x01, 0x03, 0xE0,
    0x80, 0xFF, 0x00, 0x00, 0x08, 0x08, 0x6B, 0x6B, 0x08, 0x36, 0x12, 0x36,
    0x24, 0x36, 0x06, 0x0F, 0x09, 0x0F, 0x06, 0x00, 0x00, 0x18, 0x18, 0x00,
    0x00, 0x00, 0x10, 0x10, 0x00, 0x30, 0x40, 0xFF, 0x01, 0x01, 0x00, 0x1F,
    0x01, 0x01, 0x1E, 0x00, 0x19, 0x1D, 0x17, 0x12, 0x00, 0x3C, 0x3C, 0x3C,
    0x3C, 0x00, 0x00, 0x00, 0x00, 0x00 // #255 NBSP
};
```

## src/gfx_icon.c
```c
#include <zephyr/logging/log.h>
LOG_MODULE_REGISTER(gfx_icon, LOG_LEVEL_INF);

#include "gfx.h"
#include "gfx_icon.h"

// To save space, icons are "compressed" where each 1-byte represents 8 pixels
// For simplicity, we will loop trough Y (height) then X (width) and individually set/clear
// each pixel based on it's "bitmap" value.
// This is very naive and slow approach but it's quick, dirty and it works. :)
// Also we are using our gfx_draw_pixel which will abstract this code from the actual
// display type, orientation etc.


static inline bool is_pixel_set(uint8_t *bitmap, uint8_t img_w, uint8_t img_h, uint16_t x, uint16_t y)
{
    uint8_t data = bitmap[ y*img_w/8 + x/8 ];
    if ( data & (0x80>>(x%8)) )
    {
        return true;
    }
    return false;
}

// Draw icon bitmap starting at (x,y) location using color
// Limitation: We expect image height to be divisible by 8
void gfx_draw_icon(const gfx_icon_typedef *icon, uint16_t start_x, uint16_t start_y, uint8_t color, gfx_mirror_t mirror, gfx_rotate_t rotate)
{
    uint8_t *bitmap = icon->bitmap;
    uint8_t width = icon->width;
    uint8_t height = icon->height;
    uint8_t check_x = 0;
    uint8_t check_y = 0;
    uint8_t draw_x = 0;
    uint8_t draw_y = 0;

    for (uint8_t curs_y=0; curs_y<height; curs_y++)
    {
        for (uint8_t curs_x=0; curs_x<width; curs_x++)
        {
            if (mirror == MIRROR_NONE)
            {
                check_x = curs_x;
                check_y = curs_y;
            }
            else if (mirror == MIRROR_X)
            {
                check_x = width-curs_x-1;
                check_y = curs_y;
            }
            else if (mirror == MIRROR_Y)
            {
                check_x = curs_x;
                check_y = height-curs_y-1;
            }
            else if (mirror == MIRROR_XY)
            {
                check_x = width-curs_x-1;
                check_y = height-curs_y-1;
            }

            if (is_pixel_set(bitmap, width, height, check_x, check_y))
            {
                if (rotate == ROTATE_NONE)
                {
                    draw_x = start_x+curs_x;
                    draw_y = start_y+curs_y;
                }
                else if (rotate == ROTATE_CW)
                {
                    draw_x = start_x+curs_y;
                    draw_y = start_y+width-curs_x-1;
                }
                else if (rotate == ROTATE_CCW)
                {
                    draw_x = start_x+curs_y;
                    draw_y = start_y+curs_x;
                }

                gfx_draw_pixel(draw_x, draw_y, color);
            }
        }
    }
}
```

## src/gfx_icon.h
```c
#ifndef _SK_GFX_ICON_H_
#define _SK_GFX_ICON_H_

#include <stdint.h>

typedef struct {
  uint8_t *bitmap;       // Pointer to icon bitmap
  uint8_t width;         // bitmap size in X
  uint8_t height;        // bitmap siz in Y
} gfx_icon_typedef;

typedef enum gfx_mirror_t
{
    MIRROR_NONE,
    MIRROR_X,
    MIRROR_Y,
    MIRROR_XY,
} gfx_mirror_t;

typedef enum gfx_rotate_t
{
    ROTATE_NONE,
    ROTATE_CW,
    ROTATE_CCW
} gfx_rotate_t;

void gfx_draw_icon(const gfx_icon_typedef *icon, uint16_t start_x, uint16_t start_y, uint8_t color, gfx_mirror_t mirror, gfx_rotate_t rotate);

#endif
```

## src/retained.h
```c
/*
 * Copyright (c) 2021 Nordic Semiconductor ASA
 *
 * SPDX-License-Identifier: Apache-2.0
 */

#ifndef RETAINED_H_
#define RETAINED_H_

#include <inttypes.h>

/* Example of validatable retained data. */
struct retained_data {
	/* The uptime from the current session the last time the
	 * retained data was updated.
	 */
	uint64_t uptime_latest;

	/* Cumulative uptime from all previous sessions up through
	 * uptime_latest of this session.
	 */
	uint64_t uptime_sum;

	/* Number of times the application has started. */
	uint32_t boots;

	/* Number of times the application has gone into system off. */
	uint32_t off_count;

    /* Application state indicating how button presses should be interpreted. */
    uint32_t app_state;

    /* Helper variable that survives device power-down. */
    uint32_t current_selection;

	/* CRC used to validate the retained data.  This must be
	 * stored little-endian, and covers everything up to but not
	 * including this field.
	 */
	uint32_t crc;
};

/* For simplicity in the sample just allow anybody to see and
 * manipulate the retained state.
 */
extern struct retained_data retained;

/* Check whether the retained data is valid, and if not reset it.
 *
 * @return true if and only if the data was valid and reflects state
 * from previous sessions.
 */
bool retained_validate(void);

/* Update any generic retained state and recalculate its checksum so
 * subsequent boots can verify the retained state.
 */
void retained_update(void);

#endif /* RETAINED_H_ */
```
